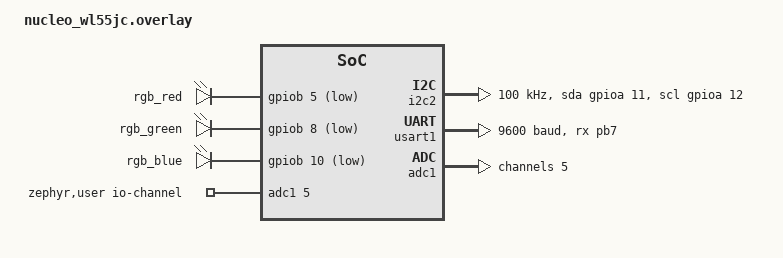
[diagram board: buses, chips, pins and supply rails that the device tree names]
#include <zephyr/dt-bindings/gpio/gpio.h>
#include <zephyr/dt-bindings/i2c/i2c.h>
#include <zephyr/dt-bindings/adc/adc.h>

/ {
    chosen {
        /delete-property/ zephyr,console;
        /delete-property/ zephyr,shell-uart;
    };

    aliases {
        rgb-red = &rgb_red;
        rgb-green = &rgb_green;
        rgb-blue = &rgb_blue;
    };

    rgb_leds: rgb-leds {
        compatible = "gpio-leds";

        rgb_red: red {
            gpios = <&gpiob 5 GPIO_ACTIVE_LOW>;
        };

        rgb_green: green {
            gpios = <&gpiob 8 GPIO_ACTIVE_LOW>;
        };

        rgb_blue: blue {
            gpios = <&gpiob 10 GPIO_ACTIVE_LOW>;
        };
    };

    zephyr,user {
        io-channels = <&adc1 5>;
    };
};

&i2c2 {
    clock-frequency = <I2C_BITRATE_STANDARD>;

    scl-gpios = <&gpioa 12 (GPIO_OPEN_DRAIN | GPIO_ACTIVE_HIGH)>;
    sda-gpios = <&gpioa 11 (GPIO_OPEN_DRAIN | GPIO_ACTIVE_HIGH)>;
};

&usart1 {
    status = "okay";
    current-speed = <9600>;
    pinctrl-0 = <&usart1_rx_pb7>;
    pinctrl-names = "default";
};

&usart1_rx_pb7 {
    bias-pull-up;
};

&adc1 {
    status = "okay";
    #address-cells = <1>;
    #size-cells = <0>;

    channel@5 {
        reg = <5>;
        zephyr,gain = "ADC_GAIN_1";
        zephyr,reference = "ADC_REF_INTERNAL";
        zephyr,acquisition-time = <ADC_ACQ_TIME_MAX>;
        zephyr,resolution = <12>;
    };
};
